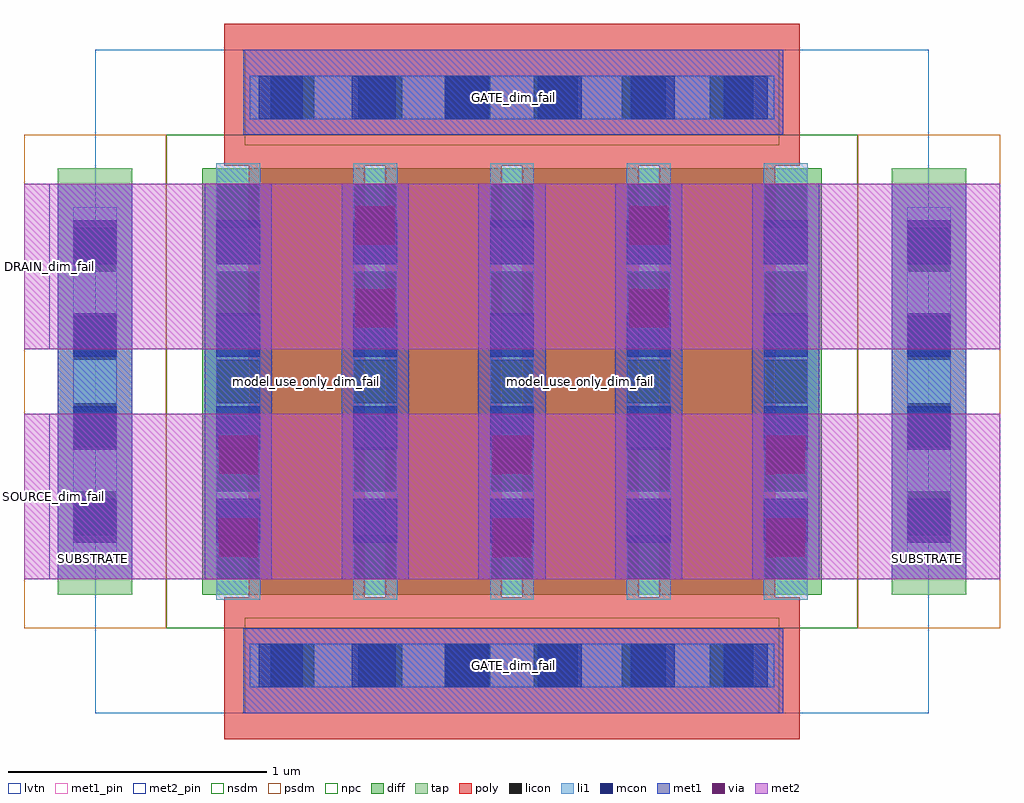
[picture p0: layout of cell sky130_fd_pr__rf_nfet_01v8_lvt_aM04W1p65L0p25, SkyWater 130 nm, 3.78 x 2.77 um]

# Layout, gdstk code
import gdstk
lib = gdstk.Library(unit=1e-6, precision=1e-09)
def R(c, l, rs):  # rectangles x0, y0, x1, y1
    for r in rs: c.add(gdstk.rectangle(r[:2], r[2:], *l))
def A(c, l, x, y, w, h, nx, ny, dx, dy):  # array of equal rectangles
    R(c, l, [(x+i*dx, y+j*dy, x+i*dx+w, y+j*dy+h) for i in range(nx) for j in range(ny)])
def P(c, l, *ps):  # polygons
    for p in ps: c.add(gdstk.Polygon(p, *l))
diff = (65, 20)
tap = (65, 44)
poly = (66, 20)
licon = (66, 44)
li1 = (67, 20)
mcon = (67, 44)
met1_pin = (68, 16)
met1 = (68, 20)
via = (68, 44)
met2_pin = (69, 16)
met2 = (69, 20)
nsdm = (93, 44)
psdm = (94, 20)
npc = (95, 20)
lvtn = (125, 44)

sky130_fd_pr__rf_nfet_01 = lib.new_cell('sky130_fd_pr__rf_nfet_01v8_lvt_aM04W1p65L0p25')
R(sky130_fd_pr__rf_nfet_01, diff, [(0.74,0.51,3.14,2.16)])
R(sky130_fd_pr__rf_nfet_01, tap, [(0.18,0.51,0.47,2.16), (3.41,0.51,3.7,2.16)])
P(sky130_fd_pr__rf_nfet_01, poly, [(0.825,-0.05),(0.825,0.5),(0.92,0.5),(0.92,2.17),(1.37,2.17),(1.37,0.5),(1.45,0.5),(1.45,2.17),(1.9,2.17),(1.9,0.5),(1.98,0.5),(1.98,2.17),(2.43,2.17),(2.43,0.5),(2.51,0.5),(2.51,2.17),(0.825,2.17),(0.825,2.72),(3.055,2.72),(3.055,2.17),(2.96,2.17),(2.96,0.5),(3.055,0.5),(3.055,-0.05)])
A(sky130_fd_pr__rf_nfet_01, licon, 1.005, 0.15, 0.17, 0.17, 6, 2, 0.34, 2.2)
A(sky130_fd_pr__rf_nfet_01, licon, 0.795, 0.57, 0.17, 0.17, 3, 1, 0.53, 0)
A(sky130_fd_pr__rf_nfet_01, licon, 1.855, 0.57, 0.17, 0.17, 3, 1, 0.53, 0)
A(sky130_fd_pr__rf_nfet_01, licon, 0.24, 0.74, 0.17, 0.17, 1, 4, 0, 0.34)
A(sky130_fd_pr__rf_nfet_01, licon, 3.47, 0.74, 0.17, 0.17, 1, 4, 0, 0.34)
A(sky130_fd_pr__rf_nfet_01, licon, 0.795, 0.91, 0.17, 0.17, 5, 4, 0.53, 0.34)
R(sky130_fd_pr__rf_nfet_01, licon, [(0.795,0.57,0.965,0.74), (2.915,0.57,3.085,0.74)])
A(sky130_fd_pr__rf_nfet_01, li1, 0.795, 0.49, 0.17, 1.69, 5, 1, 0.53, 0)
R(sky130_fd_pr__rf_nfet_01, li1, [(0.925,0.15,2.955,0.32), (0.96,0.15,2.93,0.32), (0.24,0.66,0.41,2.01), (3.47,0.66,3.64,2.01), (0.925,2.35,2.955,2.52), (0.96,2.35,2.93,2.52)])
A(sky130_fd_pr__rf_nfet_01, mcon, 0.96, 0.15, 0.17, 0.17, 6, 2, 0.36, 2.2)
A(sky130_fd_pr__rf_nfet_01, mcon, 0.24, 0.71, 0.17, 0.17, 1, 4, 0, 0.36)
A(sky130_fd_pr__rf_nfet_01, mcon, 0.795, 0.71, 0.17, 0.17, 5, 4, 0.53, 0.36)
A(sky130_fd_pr__rf_nfet_01, mcon, 3.47, 0.71, 0.17, 0.17, 1, 4, 0, 0.36)
R(sky130_fd_pr__rf_nfet_01, met1_pin, [(0.9,0.05,2.99,0.38), (0.18,0.57,0.47,0.65), (3.41,0.57,3.7,0.65), (0.9,2.29,2.99,2.62)])
A(sky130_fd_pr__rf_nfet_01, met1, 0.75, 0.57, 0.26, 1.53, 5, 1, 0.53, 0)
R(sky130_fd_pr__rf_nfet_01, met1, [(0.9,0.05,2.99,0.38), (0.18,0.57,0.47,2.1), (3.41,0.57,3.7,2.1), (0.9,2.29,2.99,2.62)])
A(sky130_fd_pr__rf_nfet_01, via, 0.805, 0.655, 0.15, 0.15, 3, 2, 1.06, 0.32)
R(sky130_fd_pr__rf_nfet_01, via, [(1.335,1.545,1.485,1.695), (2.395,1.545,2.545,1.695), (1.335,1.865,1.485,2.015), (2.395,1.865,2.545,2.015)])
R(sky130_fd_pr__rf_nfet_01, met2_pin, [(0.05,0.57,0.15,1.21), (0.05,1.46,0.15,2.1)])
R(sky130_fd_pr__rf_nfet_01, met2, [(0.05,0.57,3.83,1.21), (0.05,1.46,3.83,2.1)])
R(sky130_fd_pr__rf_nfet_01, nsdm, [(0.6,0.38,3.28,2.29)])
R(sky130_fd_pr__rf_nfet_01, psdm, [(0.05,0.38,0.6,2.29), (3.28,0.38,3.83,2.29)])
R(sky130_fd_pr__rf_nfet_01, npc, [(0.905,0.05,2.975,0.42), (0.905,2.25,2.975,2.62)])
R(sky130_fd_pr__rf_nfet_01, lvtn, [(0.325,0.05,3.555,2.62)])
sky130_fd_pr__rf_nfet_01.add(gdstk.Label('model_use_only_dim_fail', (1.145,1.335), layer=66, texttype=83))
sky130_fd_pr__rf_nfet_01.add(gdstk.Label('model_use_only_dim_fail', (1.675,1.335), layer=66, texttype=83))
sky130_fd_pr__rf_nfet_01.add(gdstk.Label('model_use_only_dim_fail', (2.205,1.335), layer=66, texttype=83))
sky130_fd_pr__rf_nfet_01.add(gdstk.Label('model_use_only_dim_fail', (2.735,1.335), layer=66, texttype=83))
sky130_fd_pr__rf_nfet_01.add(gdstk.Label('DRAIN_dim_fail', (0.15,1.78), layer=69, texttype=5))
sky130_fd_pr__rf_nfet_01.add(gdstk.Label('SOURCE_dim_fail', (0.15,0.89), layer=69, texttype=5))
sky130_fd_pr__rf_nfet_01.add(gdstk.Label('GATE_dim_fail', (1.945,2.435), layer=68, texttype=5))
sky130_fd_pr__rf_nfet_01.add(gdstk.Label('GATE_dim_fail', (1.945,0.235), layer=68, texttype=5))
sky130_fd_pr__rf_nfet_01.add(gdstk.Label('SUBSTRATE', (3.55,0.65), layer=68, texttype=5))
sky130_fd_pr__rf_nfet_01.add(gdstk.Label('SUBSTRATE', (0.32,0.65), layer=68, texttype=5))

lib.write_gds('sky130_fd_pr__rf_nfet_01v8_lvt_aM04W1p65L0p25.gds')
